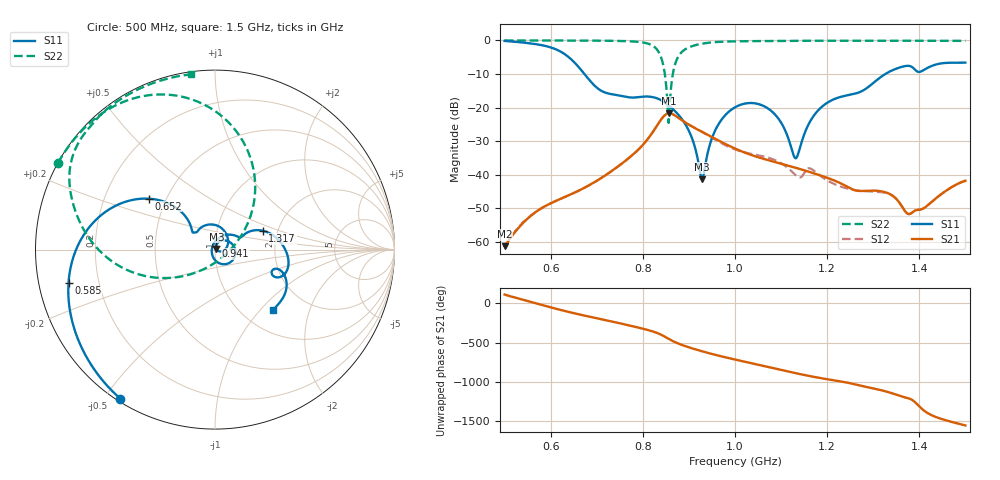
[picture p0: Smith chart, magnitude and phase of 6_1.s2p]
! TOUCHSTONE file generated by CST MICROWAVE STUDIO
! Date and time: Mon Oct 26 12:04:54 2020
! Project name: Scenario_1_Circular_Tissue_out_of_Line_v2.cst
! Parameters = {dy1=-259.5; L_HA=400; MT=2.54; Rad_Dielectric=30; Rad_Lower=7.3; Rad_Upper=30; a_HA=580; a_WG=246; b_HA=500; b_WG=121; c_HA=0; c_WG=187; d_feed=85; dx1=173; h_feed=15; h_lower=18; h_upper=40}
! Header version: 2018
! Port assignment regex: !\s*Touchstone port\s*([0-9]+)\s*=\s*(CST MWS port|CST DS port)\s*([0-9]+|Zmin|Zmax)\s*\(\"(.*)\"\)(\s*mode\s*([0-9]+))?.*
! Touchstone port assignment:
! Touchstone port 1 = CST MWS port 1 ("")
! Touchstone port 2 = CST MWS port 2 ("")
# GHz S DB R 50
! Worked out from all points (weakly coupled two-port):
!   1003 points, 500 MHz to 1.5 GHz, reference 50 ohm
!   highest |S21| = -21.73 dB at 857 MHz (marker M1); lowest = -61.3 dB at 500 MHz (marker M2)
!   lowest |S11| = -41.4 dB at 929 MHz (marker M3), VSWR 1.02, Z = 50.7 + j0.429 ohm
!   |S11| at or under -10 dB: 673.2 MHz to 1.326 GHz (653.1 MHz wide, 65.3 % of centre)
!   |S22| runs from -24.6 to 0.0 dB; largest |S21 - S12| = 0.0052
!   S11 on the Smith chart (normalised r, x): 500 MHz: 0.01, -0.55; 585 MHz: 0.09, -0.11; 652 MHz: 0.40, +0.29; 941 MHz: 1.01, +0.04; 1.317 GHz: 1.67, +0.38; 1.5 GHz: 1.38, -1.18
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0.5  -0.14 -122.5  -61.34 110.6  -61.34 110.5  -0.01 151.1
0.585  -1.54 -167.1  -49.62 -28.1  -49.68 -26.9  -0.02 145.3
0.652  -6.63 142.5  -45.38 -128.8  -45.36 -130.0  -0.03 139.8
0.667  -8.96 134.7  -44.37 -148.8  -44.37 -149.7  -0.04 138.4
0.781  -17.03 134.2  -33.72 63.4  -33.73 63.3  -0.33 120.0
0.834  -17.43 85.1  -24.70 -25.6  -24.72 -25.7  -3.36 80.7
0.846  -18.41 68.0  -22.51 -59.5  -22.50 -59.5  -8.54 53.6
0.857  -19.54 52.6  -21.73 -95.6  -21.67 -95.7  -23.06 -86.5
0.867  -20.71 38.1  -22.15 -126.4  -22.12 -126.6  -8.66 -155.0
0.877  -22.13 23.2  -23.05 -152.5  -23.05 -152.6  -4.80 -173.3
0.905  -28.54 -15.0  -25.53 150.1  -25.48 149.6  -1.79 163.9
0.929  -41.40 29.7  -27.30 108.3  -27.28 105.7  -0.96 154.9
0.941  -33.38 74.3  -28.17 88.9  -28.25 85.2  -0.71 151.5
0.964  -25.03 57.7  -29.83 54.0  -30.14 49.7  -0.44 146.3
1  -19.93 17.5  -32.23 4.3  -32.48 2.5  -0.27 140.2
1.078  -20.93 -64.0  -35.93 -98.5  -35.21 -97.0  -0.16 131.8
1.131  -35.12 177.0  -37.93 -168.4  -40.09 -162.3  -0.11 127.1
1.167  -23.24 71.6  -39.44 148.6  -38.43 157.9  -0.09 124.2
1.317  -10.86 21.5  -44.98 -25.2  -45.23 -24.3  -0.09 112.8
1.334  -9.40 12.8  -45.66 -52.2  -45.77 -52.0  -0.09 111.5
1.379  -7.62 -17.2  -51.74 -133.5  -51.74 -133.6  -0.09 108.0
1.5  -6.62 -45.9  -41.83 -113.8  -41.82 -113.8  -0.13 97.9
